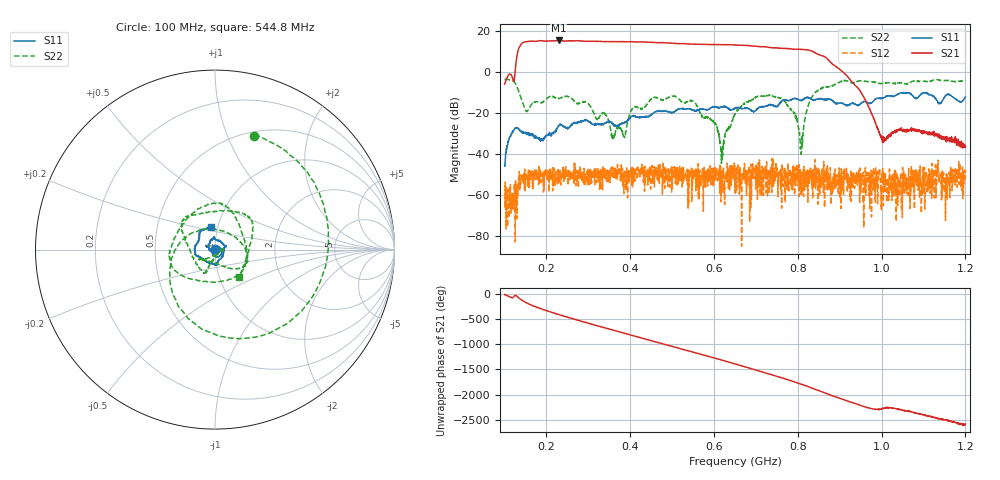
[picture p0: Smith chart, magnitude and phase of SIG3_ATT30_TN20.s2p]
# Hz S DB R 50
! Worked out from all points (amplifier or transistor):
!   1601 points, 100 MHz to 1.2 GHz, reference 50 ohm
!   highest |S21| = 15.5 dB at 229.2 MHz (marker M1)
!   |S21| within 3 dB of that: 135.7 MHz to 708.2 MHz (572.5 MHz wide, 136 % of centre)
!   unconditionally stable (mu >= 1): start of sweep to end of sweep
!   at 282.9 MHz: K = 29.90, MAG = 15.4 dB, |S12| = -51.1 dB
!   at 650 MHz: K = 92.35, MAG = 13.4 dB, |S12| = -58.9 dB
!   at 1.2 GHz: K = 4803.34, MAG = -34.1 dB, |S12| = -48.1 dB
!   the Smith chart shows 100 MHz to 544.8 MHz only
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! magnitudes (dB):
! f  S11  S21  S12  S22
! 100 MHz  -45.4  -5.7  -65.6  -3.4
! 121.3 MHz  -28.3  -4.4  -60.6  -4.5
! 142.6 MHz  -29.3  14.3  -52.4  -14.4
! 229.2 MHz  -26.0  15.5  -53.3  -12.8
! 283.6 MHz  -24.2  15.2  -49.8  -14.6
! 339.9 MHz  -24.9  15.0  -52.1  -20.2
! 359.2 MHz  -25.1  14.9  -46.8  -32.4
! 386.7 MHz  -24.1  14.9  -53.2  -31.9
! 408 MHz  -21.4  14.9  -50.1  -17.2
! 467.1 MHz  -19.1  14.5  -45.3  -12.7
! 551.7 MHz  -18.7  13.7  -47.9  -14.3
! 601.9 MHz  -16.8  13.5  -53.1  -25.0
! 617.7 MHz  -16.9  13.5  -54.6  -44.4
! 650 MHz  -17.6  13.3  -58.9  -20.4
! 757.9 MHz  -15.0  11.7  -48.4  -12.7
! 792.3 MHz  -12.7  11.3  -60.0  -19.7
! 808.1 MHz  -13.6  11.2  -48.8  -39.2
! 833.6 MHz  -13.3  10.3  -48.1  -12.0
! 918.1 MHz  -16.3  -2.0  -58.6  -4.3
! 1.001 GHz  -12.9  -32.5  -51.4  -5.5
! 1.017 GHz  -11.5  -31.5  -62.5  -5.1
! 1.2 GHz  -12.1  -36.7  -48.1  -3.9
